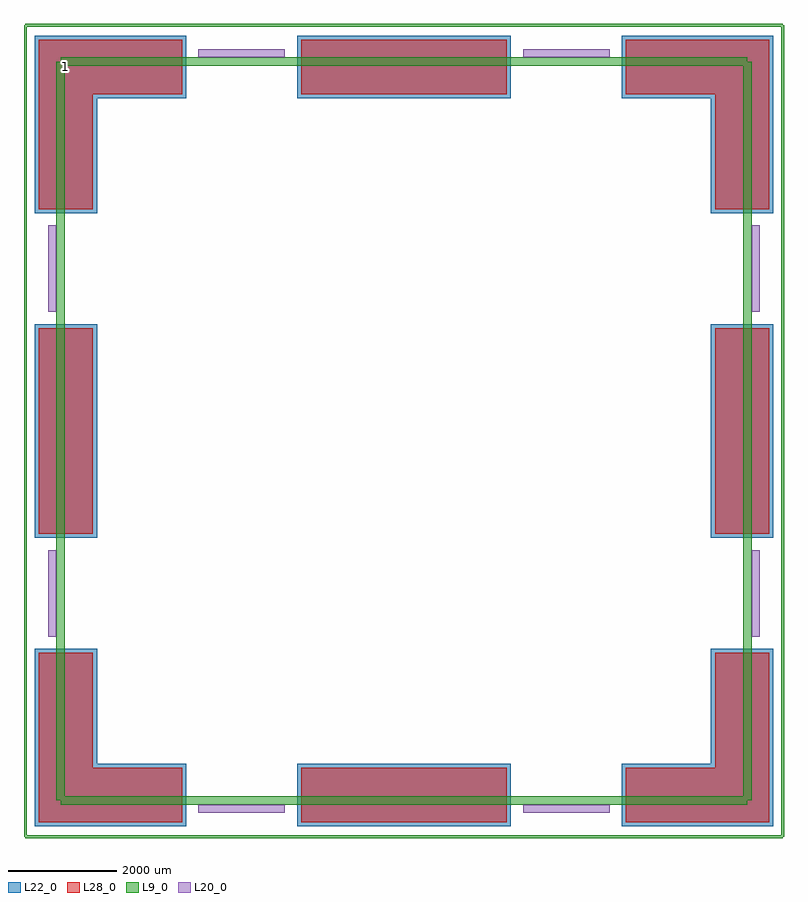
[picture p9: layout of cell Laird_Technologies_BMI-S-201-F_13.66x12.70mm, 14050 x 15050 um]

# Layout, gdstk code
import gdstk
lib = gdstk.Library(unit=1e-6, precision=1e-09)
def R(c, l, rs):  # rectangles x0, y0, x1, y1
    for r in rs: c.add(gdstk.rectangle(r[:2], r[2:], *l))
L9_0 = (9, 0)
L20_0 = (20, 0)
L22_0 = (22, 0)
L28_0 = (28, 0)

laird_technologies_bmi_s = lib.new_cell('Laird_Technologies_BMI-S-201-F_13.66x12.70mm')
R(laird_technologies_bmi_s, L22_0, [(-6825,-7305,-5675,-6155), (-5825,-7305,-4025,-6155), (-1975,-7305,1975,-6155), (4025,-7305,5825,-6155), (5675,-7305,6825,-6155), (-6825,-6305,-5675,-4025), (5675,-6305,6825,-4025), (-6825,-1975,-5675,1975), (5675,-1975,6825,1975), (-6825,4025,-5675,6305), (5675,4025,6825,6305), (-6825,6155,-5675,7305), (-5825,6155,-4025,7305), (-1975,6155,1975,7305), (4025,6155,5825,7305), (5675,6155,6825,7305)])
R(laird_technologies_bmi_s, L28_0, [(-6750,-7230,-5750,-6230), (-5750,-7230,-4100,-6230), (-1900,-7230,1900,-6230), (4100,-7230,5750,-6230), (5750,-7230,6750,-6230), (-6750,-6230,-5750,-4100), (5750,-6230,6750,-4100), (-6750,-1900,-5750,1900), (5750,-1900,6750,1900), (-6750,4100,-5750,6230), (5750,4100,6750,6230), (-6750,6230,-5750,7230), (-5750,6230,-4100,7230), (-1900,6230,1900,7230), (4100,6230,5750,7230), (5750,6230,6750,7230)])
laird_technologies_bmi_s.add(gdstk.FlexPath([(6500,-2200),(6500,-3800)], 149.998, ends="flush", simple_path=True, layer=20, datatype=0))  # L20_0
laird_technologies_bmi_s.add(gdstk.FlexPath([(-6500,-2200),(-6500,-3800)], 149.998, ends="flush", simple_path=True, layer=20, datatype=0))  # L20_0
laird_technologies_bmi_s.add(gdstk.FlexPath([(6500,3800),(6500,2200)], 149.998, ends="flush", simple_path=True, layer=20, datatype=0))  # L20_0
laird_technologies_bmi_s.add(gdstk.FlexPath([(-6500,3800),(-6500,2200)], 149.998, ends="flush", simple_path=True, layer=20, datatype=0))  # L20_0
laird_technologies_bmi_s.add(gdstk.FlexPath([(2200,-6980),(3800,-6980)], 149.998, ends="flush", simple_path=True, layer=20, datatype=0))  # L20_0
laird_technologies_bmi_s.add(gdstk.FlexPath([(2200,6980),(3800,6980)], 149.998, ends="flush", simple_path=True, layer=20, datatype=0))  # L20_0
laird_technologies_bmi_s.add(gdstk.FlexPath([(-3800,-6980),(-2200,-6980)], 149.998, ends="flush", simple_path=True, layer=20, datatype=0))  # L20_0
laird_technologies_bmi_s.add(gdstk.FlexPath([(-3800,6980),(-2200,6980)], 149.998, ends="flush", simple_path=True, layer=20, datatype=0))  # L20_0
laird_technologies_bmi_s.add(gdstk.FlexPath([(6350,6830),(-6350,6830)], 149.998, ends="flush", simple_path=True, layer=9, datatype=0))  # L9_0
laird_technologies_bmi_s.add(gdstk.FlexPath([(6350,-6830),(6350,6830)], 149.998, ends="flush", simple_path=True, layer=9, datatype=0))  # L9_0
laird_technologies_bmi_s.add(gdstk.FlexPath([(-6350,-6830),(6350,-6830)], 149.998, ends="flush", simple_path=True, layer=9, datatype=0))  # L9_0
laird_technologies_bmi_s.add(gdstk.FlexPath([(-6350,6830),(-6350,-6830)], 149.998, ends="flush", simple_path=True, layer=9, datatype=0))  # L9_0
laird_technologies_bmi_s.add(gdstk.FlexPath([(7000,7500),(-7000,7500)], 50, ends="flush", simple_path=True, layer=9, datatype=0))  # L9_0
laird_technologies_bmi_s.add(gdstk.FlexPath([(7000,-7500),(7000,7500)], 50, ends="flush", simple_path=True, layer=9, datatype=0))  # L9_0
laird_technologies_bmi_s.add(gdstk.FlexPath([(-7000,-7500),(7000,-7500)], 50, ends="flush", simple_path=True, layer=9, datatype=0))  # L9_0
laird_technologies_bmi_s.add(gdstk.FlexPath([(-7000,7500),(-7000,-7500)], 50, ends="flush", simple_path=True, layer=9, datatype=0))  # L9_0
laird_technologies_bmi_s.add(gdstk.Label('1', (-6250,6730), layer=28, texttype=0))
laird_technologies_bmi_s.add(gdstk.Label('type', (0,-8230), layer=9, texttype=0))
laird_technologies_bmi_s.add(gdstk.Label('devicename', (0,8230), layer=9, texttype=0))

lib.write_gds('Laird_Technologies_BMI-S-201-F_13.66x12.70mm.gds')
